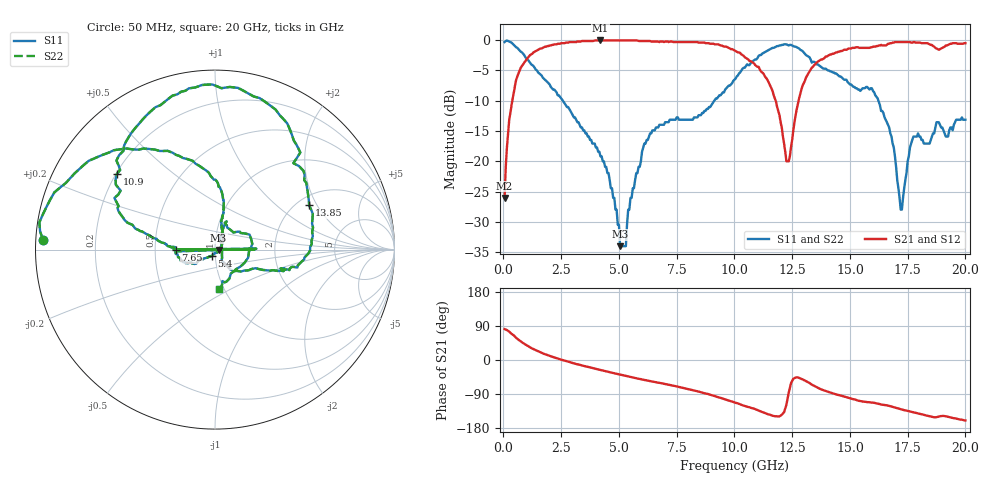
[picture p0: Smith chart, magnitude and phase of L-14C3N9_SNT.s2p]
#	mhz	s	ma	r	50
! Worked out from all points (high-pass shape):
!   400 points, 50 MHz to 20 GHz, reference 50 ohm
!   highest |S21| = -0.09 dB at 4.2 GHz (marker M1); lowest = -26.0 dB at 50 MHz (marker M2)
!   |S21| within 3 dB of the highest: 1.027 GHz to 10.55 GHz (9.518 GHz wide, 164 % of centre); 13.85 GHz to end of sweep
!   lowest |S11| = -34.0 dB at 5.05 GHz (marker M3), VSWR 1.04, Z = 52 - j0.228 ohm
!   |S11| at or under -10 dB: 2.569 GHz to 9.131 GHz (6.563 GHz wide, 112 % of centre); 16.23 GHz to end of sweep
!   |S22| runs from -34.0 to -0.1 dB; largest |S21 - S12| = 0
!   S11 on the Smith chart (normalised r, x): 50 MHz: 0.02, +0.03; 5.4 GHz: 0.97, -0.07; 7.65 GHz: 0.64, -0.00; 10.9 GHz: 0.20, +0.33; 13.85 GHz: 2.31, +1.72; 20 GHz: 0.95, -0.44
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50  0.96 176.8  0.05 81.6  0.05 81.6  0.96 176.8
250  0.97 166.2  0.22 74.8  0.22 74.8  0.97 166.2
750  0.8 137.4  0.59 49.3  0.59 49.3  0.8 137.4
3400  0.19 77.3  0.98 -14.5  0.98 -14.5  0.19 77.3
4200  0.11 68.8  0.99 -26.3  0.99 -26.3  0.11 68.8
5050  0.02 -6.3  0.99 -38.6  0.99 -38.6  0.02 -6.3
5400  0.04 -114.0  0.99 -43.4  0.99 -43.4  0.04 -114.0
6700  0.19 -160.6  0.97 -59.8  0.97 -59.8  0.19 -160.6
7450  0.22 -177.4  0.96 -69.0  0.96 -69.0  0.22 -177.4
7500  0.23 1.2  0.96 -69.7  0.96 -69.7  0.23 1.2
7650  0.22 -179.6  0.96 -71.6  0.96 -71.6  0.22 -179.6
7700  0.22 0.0  0.96 -72.2  0.96 -72.2  0.22 0.0
7750  0.22 179.6  0.96 -72.9  0.96 -72.9  0.22 179.6
10050  0.48 163.3  0.81 -113.0  0.81 -113.0  0.48 163.3
10900  0.69 142.3  0.62 -129.7  0.62 -129.7  0.69 142.3
12250  0.92 90.9  0.1 -118.4  0.1 -118.4  0.92 90.9
13350  0.65 47.8  0.59 -65.0  0.59 -65.0  0.65 47.8
13850  0.58 25.2  0.7 -79.7  0.7 -79.7  0.58 25.2
16700  0.19 -40.0  0.93 -121.0  0.93 -121.0  0.19 -40.0
17250  0.04 15.7  0.96 -130.5  0.96 -130.5  0.04 15.7
17750  0.16 69.4  0.96 -137.9  0.96 -137.9  0.16 69.4
20000  0.22 -84.4  0.94 -159.5  0.94 -159.5  0.22 -84.4
